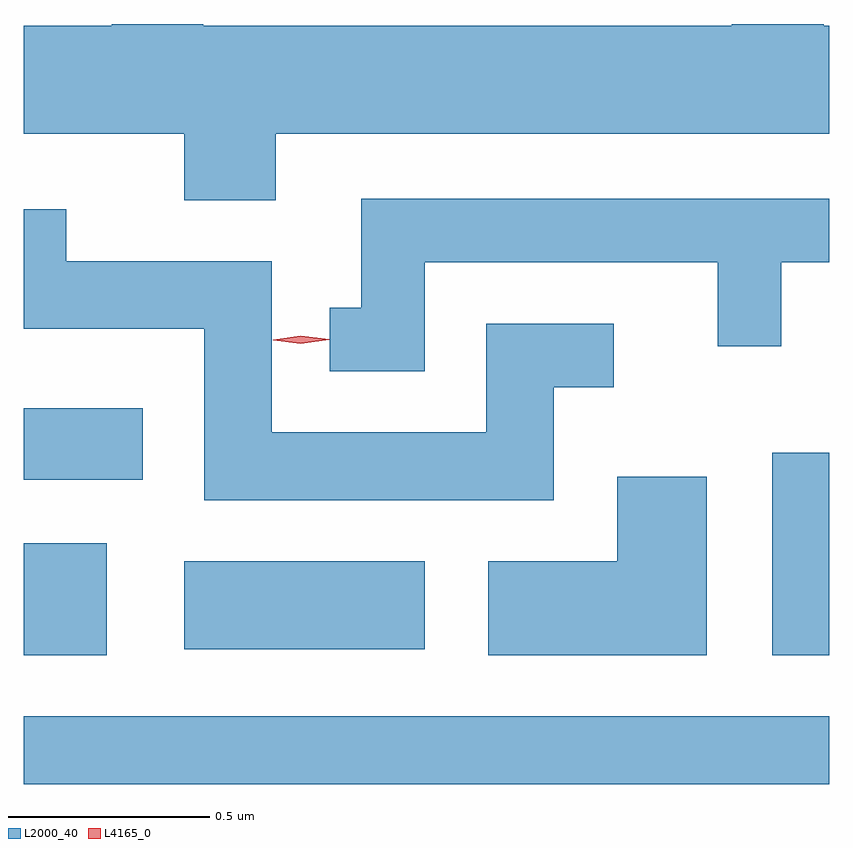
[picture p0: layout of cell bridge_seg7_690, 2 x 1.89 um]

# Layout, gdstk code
import gdstk
lib = gdstk.Library(unit=1e-6, precision=1e-09)
def R(c, l, rs):  # rectangles x0, y0, x1, y1
    for r in rs: c.add(gdstk.rectangle(r[:2], r[2:], *l))
def P(c, l, *ps):  # polygons
    for p in ps: c.add(gdstk.Polygon(p, *l))
L2000_40 = (2000, 40)
L4165_0 = (4165, 0)

bridge_seg7_690 = lib.new_cell('bridge_seg7_690')
R(bridge_seg7_690, L2000_40, [(970.763,1712.701,972.763,1712.869), (970.763,1713.021,970.969,1713.299), (972.621,1713.021,972.763,1713.524), (971.161,1713.036,971.759,1713.254), (970.763,1713.456,971.059,1713.634)])
P(bridge_seg7_690, L2000_40, [(971.389,1714.316),(972.763,1714.316),(972.763,1714.584),(972.749,1714.584),(972.749,1714.588),(972.521,1714.588),(972.521,1714.584),(971.209,1714.584),(971.209,1714.588),(970.981,1714.588),(970.981,1714.584),(970.763,1714.584),(970.763,1714.316),(971.161,1714.316),(971.161,1714.151),(971.389,1714.151)],
  [(971.759,1713.996),(972.486,1713.996),(972.486,1713.788),(972.644,1713.788),(972.644,1713.996),(972.763,1713.996),(972.763,1714.154),(971.601,1714.154),(971.601,1713.884),(971.523,1713.884),(971.523,1713.726),(971.759,1713.726)],
  [(972.079,1713.686),(972.228,1713.686),(972.228,1713.844),(971.911,1713.844),(971.911,1713.574),(971.379,1713.574),(971.379,1713.999),(970.869,1713.999),(970.869,1714.128),(970.763,1714.128),(970.763,1713.831),(971.211,1713.831),(971.211,1713.406),(972.079,1713.406)],
  [(972.459,1713.464),(972.236,1713.464),(972.236,1713.254),(971.916,1713.254),(971.916,1713.021),(972.459,1713.021)])
P(bridge_seg7_690, L4165_0, [(971.451,1713.794),(971.382,1713.803),(971.382,1713.803),(971.382,1713.804),(971.451,1713.814),(971.521,1713.805),(971.521,1713.804),(971.521,1713.804)])

lib.write_gds('bridge_seg7_690.gds')
